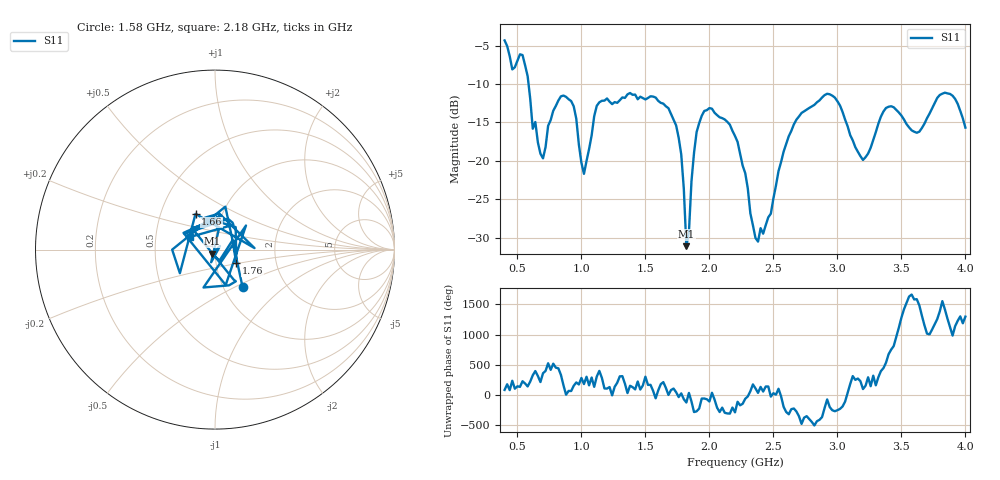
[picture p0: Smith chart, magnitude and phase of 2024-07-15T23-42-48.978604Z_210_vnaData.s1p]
!Created with skrf (http://scikit-rf.org).
# Hz S RI R 50.0
!freq ReS11 ImS11
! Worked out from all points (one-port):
!   181 points, 400 MHz to 4 GHz, reference 50 ohm
!   lowest |S11| = -31.1 dB at 1.82 GHz (marker M1), VSWR 1.06, Z = 48.5 - j2.28 ohm
!   |S11| at or under -10 dB: 587.1 MHz to end of sweep
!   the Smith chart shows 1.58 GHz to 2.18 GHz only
!   S11 on the Smith chart (normalised r, x): 1.58 GHz: 1.23, -0.55; 1.66 GHz: 0.75, +0.31; 1.76 GHz: 1.25, -0.20; 2.18 GHz: 0.75, +0.11
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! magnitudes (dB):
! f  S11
! 400 MHz  -4.3
! 460 MHz  -8.1
! 540 MHz  -6.2
! 620 MHz  -15.8
! 700 MHz  -19.7
! 860 MHz  -11.5
! 940 MHz  -12.9
! 1.02 GHz  -21.7
! 1.12 GHz  -12.8
! 1.3 GHz  -12.1
! 1.58 GHz  -11.8
! 1.66 GHz  -12.9
! 1.76 GHz  -17.0
! 1.8 GHz  -23.6
! 1.82 GHz  -31.1
! 1.88 GHz  -18.9
! 1.94 GHz  -14.1
! 2.18 GHz  -16.1
! 2.2 GHz  -16.8
! 2.38 GHz  -30.5
! 2.66 GHz  -15.2
! 2.92 GHz  -11.3
! 3.1 GHz  -16.6
! 3.2 GHz  -19.9
! 3.38 GHz  -13.1
! 3.56 GHz  -15.6
! 3.84 GHz  -11.1
! 4 GHz  -15.7
